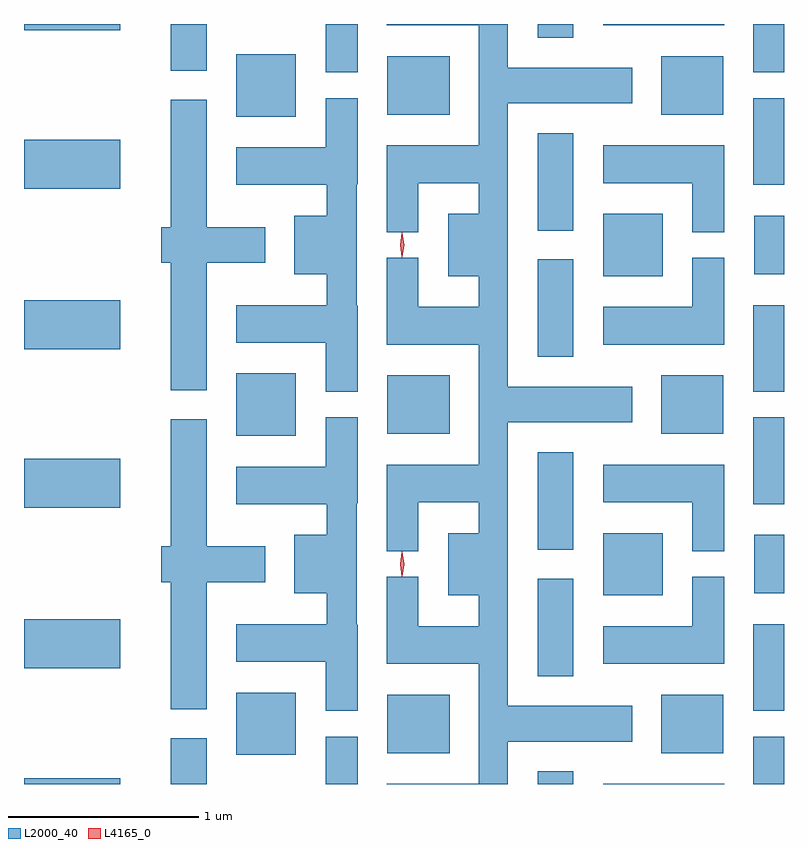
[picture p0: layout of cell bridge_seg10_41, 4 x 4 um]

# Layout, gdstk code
import gdstk
lib = gdstk.Library(unit=1e-6, precision=1e-09)
def R(c, l, rs):  # rectangles x0, y0, x1, y1
    for r in rs: c.add(gdstk.rectangle(r[:2], r[2:], *l))
def A(c, l, x, y, w, h, nx, ny, dx, dy):  # array of equal rectangles
    R(c, l, [(x+i*dx, y+j*dy, x+i*dx+w, y+j*dy+h) for i in range(nx) for j in range(ny)])
def P(c, l, *ps):  # polygons
    for p in ps: c.add(gdstk.Polygon(p, *l))
L2000_40 = (2000, 40)
L4165_0 = (4165, 0)

bridge_seg10_41 = lib.new_cell('bridge_seg10_41')
A(bridge_seg10_41, L2000_40, 1624.131, 2159.766, 0.313, 0.328, 1, 3, 0, 1.68)
A(bridge_seg10_41, L2000_40, 1624.926, 2159.776, 0.328, 0.308, 1, 3, 0, 1.68)
A(bridge_seg10_41, L2000_40, 1626.366, 2159.776, 0.328, 0.308, 1, 3, 0, 1.68)
R(bridge_seg10_41, L2000_40, [(1623.013,2159.613,1623.519,2159.644), (1623.786,2159.613,1623.974,2159.854), (1624.601,2159.613,1624.769,2159.863), (1625.716,2159.613,1625.904,2159.679), (1626.061,2159.613,1626.699,2159.614), (1626.851,2159.613,1627.013,2159.863), (1626.851,2159.998,1627.013,2160.454), (1625.716,2160.181,1625.904,2160.694), (1623.013,2160.221,1623.519,2160.479), (1626.061,2160.606,1626.374,2160.934), (1626.856,2160.616,1627.013,2160.924), (1625.716,2160.846,1625.904,2161.359), (1623.013,2161.066,1623.519,2161.324), (1626.851,2161.086,1627.013,2161.543), (1626.851,2161.678,1627.013,2162.134), (1625.716,2161.861,1625.904,2162.374), (1623.013,2161.901,1623.519,2162.159), (1626.061,2162.286,1626.374,2162.614), (1626.856,2162.296,1627.013,2162.604), (1625.716,2162.526,1625.904,2163.039), (1623.013,2162.746,1623.519,2163.004), (1626.851,2162.766,1627.013,2163.223), (1624.601,2163.358,1624.769,2163.613), (1626.851,2163.358,1627.013,2163.613), (1623.786,2163.366,1623.974,2163.613), (1625.716,2163.541,1625.904,2163.613), (1623.013,2163.581,1623.519,2163.613), (1626.061,2163.606,1626.699,2163.613)])
P(bridge_seg10_41, L2000_40, [(1625.559,2159.836),(1626.214,2159.836),(1626.214,2160.024),(1625.559,2160.024),(1625.559,2161.516),(1626.214,2161.516),(1626.214,2161.704),(1625.559,2161.704),(1625.559,2163.196),(1626.214,2163.196),(1626.214,2163.384),(1625.559,2163.384),(1625.559,2163.613),(1624.921,2163.613),(1624.921,2163.606),(1625.406,2163.606),(1625.406,2162.974),(1624.921,2162.974),(1624.921,2162.518),(1625.089,2162.518),(1625.089,2162.776),(1625.406,2162.776),(1625.406,2162.614),(1625.246,2162.614),(1625.246,2162.286),(1625.406,2162.286),(1625.406,2162.124),(1625.089,2162.124),(1625.089,2162.383),(1624.921,2162.383),(1624.921,2161.926),(1625.406,2161.926),(1625.406,2161.294),(1624.921,2161.294),(1624.921,2160.838),(1625.089,2160.838),(1625.089,2161.096),(1625.406,2161.096),(1625.406,2160.934),(1625.246,2160.934),(1625.246,2160.606),(1625.406,2160.606),(1625.406,2160.444),(1625.089,2160.444),(1625.089,2160.703),(1624.921,2160.703),(1624.921,2160.246),(1625.406,2160.246),(1625.406,2159.614),(1624.921,2159.614),(1624.921,2159.613),(1625.559,2159.613)],
  [(1624.769,2162.13),(1624.764,2162.13),(1624.764,2162.77),(1624.769,2162.77),(1624.769,2163.223),(1624.601,2163.223),(1624.601,2162.964),(1624.131,2162.964),(1624.131,2162.766),(1624.606,2162.766),(1624.606,2162.604),(1624.436,2162.604),(1624.436,2162.296),(1624.606,2162.296),(1624.606,2162.134),(1624.131,2162.134),(1624.131,2161.936),(1624.601,2161.936),(1624.601,2161.678),(1624.769,2161.678)],
  [(1623.974,2162.356),(1624.284,2162.356),(1624.284,2162.544),(1623.974,2162.544),(1623.974,2163.214),(1623.786,2163.214),(1623.786,2162.544),(1623.736,2162.544),(1623.736,2162.356),(1623.786,2162.356),(1623.786,2161.686),(1623.974,2161.686)],
  [(1626.699,2162.974),(1626.061,2162.974),(1626.061,2162.776),(1626.531,2162.776),(1626.531,2162.518),(1626.699,2162.518)],
  [(1626.699,2162.383),(1626.531,2162.383),(1626.531,2162.124),(1626.061,2162.124),(1626.061,2161.926),(1626.699,2161.926)],
  [(1624.769,2160.45),(1624.764,2160.45),(1624.764,2161.09),(1624.769,2161.09),(1624.769,2161.543),(1624.601,2161.543),(1624.601,2161.284),(1624.131,2161.284),(1624.131,2161.086),(1624.606,2161.086),(1624.606,2160.924),(1624.436,2160.924),(1624.436,2160.616),(1624.606,2160.616),(1624.606,2160.454),(1624.131,2160.454),(1624.131,2160.256),(1624.601,2160.256),(1624.601,2159.998),(1624.769,2159.998)],
  [(1623.974,2160.676),(1624.284,2160.676),(1624.284,2160.864),(1623.974,2160.864),(1623.974,2161.534),(1623.786,2161.534),(1623.786,2160.864),(1623.736,2160.864),(1623.736,2160.676),(1623.786,2160.676),(1623.786,2160.006),(1623.974,2160.006)],
  [(1626.699,2161.294),(1626.061,2161.294),(1626.061,2161.096),(1626.531,2161.096),(1626.531,2160.838),(1626.699,2160.838)],
  [(1626.699,2160.703),(1626.531,2160.703),(1626.531,2160.444),(1626.061,2160.444),(1626.061,2160.246),(1626.699,2160.246)])
P(bridge_seg10_41, L4165_0, [(1625.003,2160.704),(1625.002,2160.705),(1624.993,2160.77),(1625.002,2160.835),(1625.003,2160.836),(1625.003,2160.835),(1625.013,2160.77),(1625.003,2160.705)],
  [(1625.003,2162.384),(1625.002,2162.385),(1624.993,2162.45),(1625.002,2162.515),(1625.003,2162.516),(1625.003,2162.515),(1625.013,2162.45),(1625.003,2162.385)])

lib.write_gds('bridge_seg10_41.gds')
